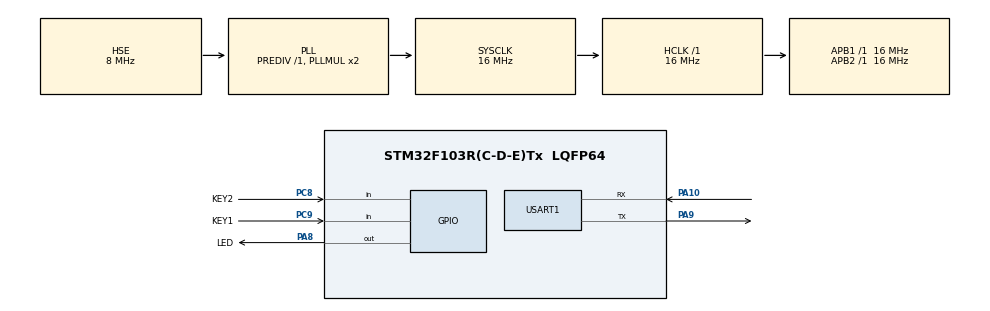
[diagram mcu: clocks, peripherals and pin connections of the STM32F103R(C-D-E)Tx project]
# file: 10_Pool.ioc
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FREERTOS.Tasks01=defaultTask,0,128,StartDefaultTask,Default,NULL,Dynamic,NULL,NULL
Mcu.Family=STM32F1
Mcu.Name=STM32F103R(C-D-E)Tx
Mcu.Package=LQFP64
NVIC.PriorityGroup=NVIC_PRIORITYGROUP_4
NVIC.TIM8_UP_IRQn=true\:15\:0\:false\:false\:true\:false\:false\:true\:true
NVIC.TimeBase=TIM8_UP_IRQn
NVIC.TimeBaseIP=TIM8
PA10.Mode=Asynchronous
PA10.Signal=USART1_RX
PA13.Mode=Serial_Wire
PA13.Signal=SYS_JTMS-SWDIO
PA14.Mode=Serial_Wire
PA14.Signal=SYS_JTCK-SWCLK
PA8.GPIO_Label=LED
PA8.Signal=GPIO_Output
PA9.Mode=Asynchronous
PA9.Signal=USART1_TX
PC8.GPIO_Label=KEY2
PC8.GPIO_PuPd=GPIO_PULLUP
PC8.Signal=GPIO_Input
PC9.GPIO_Label=KEY1
PC9.GPIO_PuPd=GPIO_PULLUP
PC9.Signal=GPIO_Input
PD0-OSC_IN.Mode=HSE-External-Oscillator
PD0-OSC_IN.Signal=RCC_OSC_IN
PD1-OSC_OUT.Mode=HSE-External-Oscillator
PD1-OSC_OUT.Signal=RCC_OSC_OUT
ProjectManager.HeapSize=0x200
ProjectManager.StackSize=0x400
ProjectManager.TargetToolchain=Makefile
RCC.AHBFreq_Value=16000000
RCC.APB1Freq_Value=16000000
RCC.APB1TimFreq_Value=16000000
RCC.APB2Freq_Value=16000000
RCC.APB2TimFreq_Value=16000000
RCC.HCLKFreq_Value=16000000
RCC.PLLSourceVirtual=RCC_PLLSOURCE_HSE
RCC.SYSCLKFreq_VALUE=16000000
RCC.SYSCLKSource=RCC_SYSCLKSOURCE_PLLCLK
RCC.USBFreq_Value=16000000
USART1.VirtualMode=VM_ASYNC
VP_FREERTOS_VS_CMSIS_V1.Mode=CMSIS_V1
VP_SYS_VS_tim8.Mode=TIM8
board=custom

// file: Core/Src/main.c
/* USER CODE BEGIN Header */
/**
  ******************************************************************************
  * @file           : main.c
  * @brief          : Main program body
  ******************************************************************************
  * @attention
  *
  * Copyright (c) 2023 STMicroelectronics.
  * All rights reserved.
  *
  * This software is licensed under terms that can be found in the LICENSE file
  * in the root directory of this software component.
  * If no LICENSE file comes with this software, it is provided AS-IS.
  *
  ******************************************************************************
  */
/* USER CODE END Header */
#include "main.h"
#include "cmsis_os.h"
#include "usart.h"
#include "gpio.h"

void SystemClock_Config(void);
void MX_FREERTOS_Init(void);

int main(void)
{

  /* MCU Configuration--------------------------------------------------------*/

  /* Reset of all peripherals, Initializes the Flash interface and the Systick. */
  HAL_Init();

  /* Configure the system clock */
  SystemClock_Config();

  /* Initialize all configured peripherals */
  MX_GPIO_Init();
  MX_USART1_UART_Init();

  /* Call init function for freertos objects (in freertos.c) */
  MX_FREERTOS_Init();

  /* Start scheduler */
  osKernelStart();

  /* We should never get here as control is now taken by the scheduler */
  /* Infinite loop */
  while (1)
  {

  }
}

void SystemClock_Config(void)
{
  RCC_OscInitTypeDef RCC_OscInitStruct = {0};
  RCC_ClkInitTypeDef RCC_ClkInitStruct = {0};

  /** Initializes the RCC Oscillators according to the specified parameters
  * in the RCC_OscInitTypeDef structure.
  */
  RCC_OscInitStruct.OscillatorType = RCC_OSCILLATORTYPE_HSE;
  RCC_OscInitStruct.HSEState = RCC_HSE_ON;
  RCC_OscInitStruct.HSEPredivValue = RCC_HSE_PREDIV_DIV1;
  RCC_OscInitStruct.HSIState = RCC_HSI_ON;
  RCC_OscInitStruct.PLL.PLLState = RCC_PLL_ON;
  RCC_OscInitStruct.PLL.PLLSource = RCC_PLLSOURCE_HSE;
  RCC_OscInitStruct.PLL.PLLMUL = RCC_PLL_MUL2;
  if (HAL_RCC_OscConfig(&RCC_OscInitStruct) != HAL_OK)
  {
    Error_Handler();
  }

  /** Initializes the CPU, AHB and APB buses clocks
  */
  RCC_ClkInitStruct.ClockType = RCC_CLOCKTYPE_HCLK|RCC_CLOCKTYPE_SYSCLK
                              |RCC_CLOCKTYPE_PCLK1|RCC_CLOCKTYPE_PCLK2;
  RCC_ClkInitStruct.SYSCLKSource = RCC_SYSCLKSOURCE_PLLCLK;
  RCC_ClkInitStruct.AHBCLKDivider = RCC_SYSCLK_DIV1;
  RCC_ClkInitStruct.APB1CLKDivider = RCC_HCLK_DIV1;
  RCC_ClkInitStruct.APB2CLKDivider = RCC_HCLK_DIV1;

  if (HAL_RCC_ClockConfig(&RCC_ClkInitStruct, FLASH_LATENCY_0) != HAL_OK)
  {
    Error_Handler();
  }
}

void HAL_TIM_PeriodElapsedCallback(TIM_HandleTypeDef *htim)
{
  if (htim->Instance == TIM8) {
    HAL_IncTick();
  }
}

void Error_Handler(void)
{
  __disable_irq();
  while (1)
  {
  }
}

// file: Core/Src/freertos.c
/* USER CODE BEGIN Header */
/**
 ******************************************************************************
 * File Name          : freertos.c
 * Description        : Code for freertos applications
 ******************************************************************************
 * @attention
 *
 * Copyright (c) 2023 STMicroelectronics.
 * All rights reserved.
 *
 * This software is licensed under terms that can be found in the LICENSE file
 * in the root directory of this software component.
 * If no LICENSE file comes with this software, it is provided AS-IS.
 *
 ******************************************************************************
 */
/* USER CODE END Header */

#include "FreeRTOS.h"
#include "task.h"
#include "main.h"
#include "cmsis_os.h"

/* USER CODE BEGIN Includes */
#include <stdio.h>
#include <string.h>
#include "key.h"
/* USER CODE END Includes */

/* USER CODE BEGIN PTD */
typedef struct msg {
    uint8_t value;
    char message[15];
} Msg;

/* USER CODE END PTD */

/* USER CODE BEGIN Variables */
/* 消息队列 */
osMessageQId msg_queue;
/* 内存池 */
osPoolId msg_pool;
/* 线程定义 */
osThreadId Write_Task_Handle;
osThreadId Read_Task_Handle;
/* USER CODE END Variables */
osThreadId defaultTaskHandle;

/* USER CODE BEGIN FunctionPrototypes */
void Write_Task(void const *argument);
void Read_Task(void const *argument);
/* USER CODE END FunctionPrototypes */

void StartDefaultTask(void const * argument);

void MX_FREERTOS_Init(void); /* (MISRA C 2004 rule 8.1) */

/* GetIdleTaskMemory prototype (linked to static allocation support) */
void vApplicationGetIdleTaskMemory( StaticTask_t **ppxIdleTaskTCBBuffer, StackType_t **ppxIdleTaskStackBuffer, uint32_t *pulIdleTaskStackSize );

/* USER CODE BEGIN GET_IDLE_TASK_MEMORY */
static StaticTask_t xIdleTaskTCBBuffer;
static StackType_t xIdleStack[configMINIMAL_STACK_SIZE];

void vApplicationGetIdleTaskMemory(StaticTask_t **ppxIdleTaskTCBBuffer, StackType_t **ppxIdleTaskStackBuffer, uint32_t *pulIdleTaskStackSize)
{
    *ppxIdleTaskTCBBuffer   = &xIdleTaskTCBBuffer;
    *ppxIdleTaskStackBuffer = &xIdleStack[0];
    *pulIdleTaskStackSize   = configMINIMAL_STACK_SIZE;
    /* place for user code */
}
/* USER CODE END GET_IDLE_TASK_MEMORY */

void MX_FREERTOS_Init(void) {

  /* Create the thread(s) */
  /* definition and creation of defaultTask */
  osThreadDef(defaultTask, StartDefaultTask, osPriorityNormal, 0, 128);
  defaultTaskHandle = osThreadCreate(osThread(defaultTask), NULL);

  /* USER CODE BEGIN RTOS_THREADS */
    /* add threads, ... */
    osThreadDef(WriteTask, Write_Task, osPriorityNormal, 0, 128);
    Write_Task_Handle = osThreadCreate(osThread(WriteTask), NULL);
    osThreadDef(ReadTask, Read_Task, osPriorityNormal, 0, 128);
    Read_Task_Handle = osThreadCreate(osThread(ReadTask), NULL);

    osMessageQDef(queue, 10, Msg *);
    msg_queue = osMessageCreate(osMessageQ(queue), NULL);
    /* 内存池创建 */
    osPoolDef(pool, 8, Msg *);
    msg_pool = osPoolCreate(osPool(pool));
  /* USER CODE END RTOS_THREADS */

}

void StartDefaultTask(void const * argument)
{
    for (;;) {
        osDelay(1);
    }
}

/* USER CODE BEGIN Application */
void Read_Task(void const *argument)
{
    osEvent rx_event;
    uint8_t flag = 0;
    Msg *rx_msg  = NULL;
    for (;;) {
        rx_event = osMessageGet(msg_queue, osWaitForever);
        if (rx_event.status == osEventMessage) {
            rx_msg = (Msg *)rx_event.value.p;
            if (rx_msg->value == 1) {
                if (flag == 0) {
                    flag = 1;
                    HAL_GPIO_WritePin(GPIOA, GPIO_PIN_8, GPIO_PIN_SET);
                }
                else if (flag == 1) {
                    flag = 0;
                    HAL_GPIO_WritePin(GPIOA, GPIO_PIN_8, GPIO_PIN_RESET);
                }
            }
            printf("%s\r\n", rx_msg->message);
        }
    }
}
void Write_Task(void const *argument)
{
    uint8_t key_value;
    osStatus ret;
    Msg *msgq = NULL;
    /* 内存池创建 */
    msgq = (Msg *)osPoolCAlloc(msg_pool);
    if (msgq == NULL) {
        printf("error to create pool.\r\n");
    }
    for (;;) {
        key_value = Key_Scan();
        if (key_value != 0) {
            msgq->value = key_value;
            strcpy(msgq->message, "key press");

            ret = osMessagePut(msg_queue, (uint32_t)msgq, 0);
            if (ret != osOK) {
                printf("error to send.\r\n");
            }
        }
        else
        {
            //printf("wait...\r\n");
        }
        osDelay(200);
    }
}

/* USER CODE END Application */
